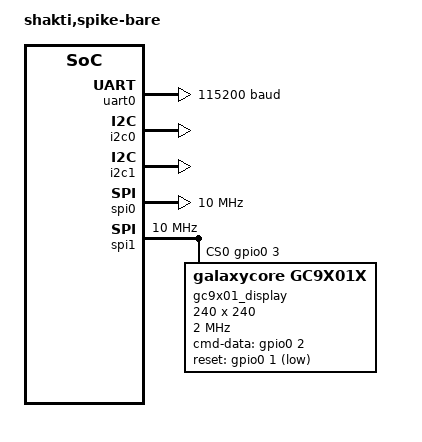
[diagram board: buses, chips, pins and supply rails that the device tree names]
/dts-v1/;

#include <secure-iot/riscv64-secure-iot.dtsi>

/ {
	model = "shakti,spike-bare";
	compatible = "shakti,spike-bare-dev";

chosen {
		zephyr,console = &uart0;
		zephyr,display = &gc9x01_display;
	};
};

&uart0 {
	status = "okay";
	current-speed = <115200>;
	clock-frequency = <100000000>;
};

&i2c0 {
	status = "ok";
	base = <0x44000>;
	clock_frequency = <40000000>;
	scl_frequency = <100000>;
};
&i2c1 {
	status = "ok";
	base = <0x44100>;
	clock_frequency = <40000000>;
	scl_frequency = <100000>;
};
&spi0 {
		status = "okay";
		sclk_configure = <0x0 0x0 0x10 0x0 0x0>;
        comm_configure = <0x01 0x00 0x03 0x08>;
		clock-frequency = <10000000>;
        cs-gpios = <&gpio0 10 0>;

};

&spi1 {
		status = "okay";
		sclk_configure = <0x0 0x0 0x10 0x0 0x0>;
        comm_configure = <0x01 0x00 0x03 0x08>;
		clock-frequency = <10000000>;
        cs-gpios = <&gpio0 3 GPIO_ACTIVE_HIGH>;

        gc9x01_display: gc9x01x@0 {
          compatible = "galaxycore,gc9x01x";
          reg = <0>;
          spi-max-frequency = <2000000>;
          cmd-data-gpios = <&gpio0 2 GPIO_ACTIVE_HIGH>;
          reset-gpios = <&gpio0 1 GPIO_ACTIVE_LOW>;
          pixel-format = <16>;
          width = <240>;
          height = <240>;
		  display-inversion;
        };
};
&gpio0 {
	status = "okay";
};
